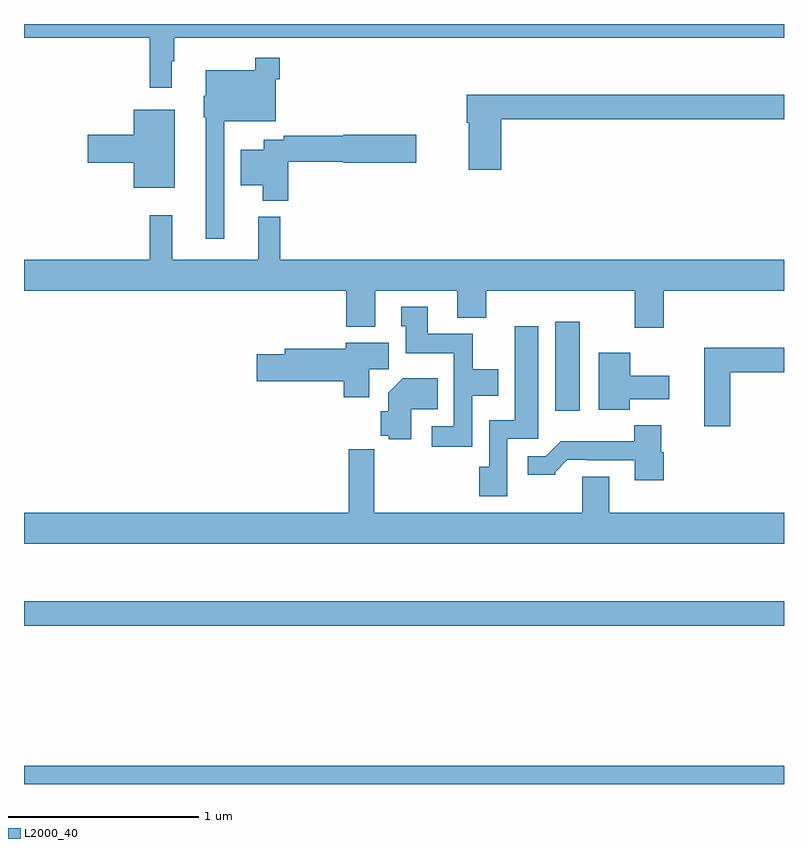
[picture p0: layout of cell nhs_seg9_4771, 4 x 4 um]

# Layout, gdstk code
import gdstk
lib = gdstk.Library(unit=1e-6, precision=1e-09)
def R(c, l, rs):  # rectangles x0, y0, x1, y1
    for r in rs: c.add(gdstk.rectangle(r[:2], r[2:], *l))
def P(c, l, *ps):  # polygons
    for p in ps: c.add(gdstk.Polygon(p, *l))
L2000_40 = (2000, 40)

nhs_seg9_4771 = lib.new_cell('nhs_seg9_4771')
R(nhs_seg9_4771, L2000_40, [(387,1184.5,391,1184.596), (387,1185.334,391,1185.463), (389.795,1186.464,389.926,1186.933)])
P(nhs_seg9_4771, L2000_40, [(387.778,1188.305),(387.79,1188.305),(387.79,1188.428),(391,1188.428),(391,1188.5),(387,1188.5),(387,1188.428),(387.661,1188.428),(387.661,1188.165),(387.778,1188.165)],
  [(388.053,1187.987),(388.326,1187.987),(388.326,1188.209),(388.346,1188.209),(388.346,1188.322),(388.218,1188.322),(388.218,1188.256),(387.956,1188.256),(387.956,1188.123),(387.947,1188.123),(387.947,1188.009),(387.956,1188.009),(387.956,1187.37),(388.053,1187.37)],
  [(389.513,1187.998),(391,1187.998),(391,1188.127),(389.33,1188.127),(389.33,1187.981),(389.342,1187.981),(389.342,1187.733),(389.513,1187.733)],
  [(387.793,1188.049),(387.578,1188.049),(387.578,1187.918),(387.336,1187.918),(387.336,1187.771),(387.578,1187.771),(387.578,1187.639),(387.793,1187.639)],
  [(388.391,1187.776),(388.68,1187.776),(388.68,1187.771),(389.065,1187.771),(389.065,1187.918),(388.68,1187.918),(388.68,1187.912),(388.366,1187.912),(388.366,1187.892),(388.262,1187.892),(388.262,1187.839),(388.142,1187.839),(388.142,1187.651),(388.256,1187.651),(388.256,1187.57),(388.391,1187.57)],
  [(390.368,1187.096),(391,1187.096),(391,1187.26),(388.349,1187.26),(388.349,1187.485),(388.232,1187.485),(388.232,1187.26),(387.779,1187.26),(387.779,1187.494),(387.661,1187.494),(387.661,1187.26),(387,1187.26),(387,1187.096),(388.697,1187.096),(388.697,1186.907),(388.849,1186.907),(388.849,1187.096),(389.279,1187.096),(389.279,1186.955),(389.432,1186.955),(389.432,1187.096),(390.215,1187.096),(390.215,1186.902),(390.368,1186.902)],
  [(389.358,1186.544),(389.497,1186.544),(389.497,1186.684),(389.361,1186.684),(389.361,1186.87),(389.125,1186.87),(389.125,1187.011),(388.985,1187.011),(388.985,1186.908),(389.009,1186.908),(389.009,1186.766),(389.262,1186.766),(389.262,1186.383),(389.145,1186.383),(389.145,1186.275),(389.358,1186.275)],
  [(389.544,1186.317),(389.707,1186.317),(389.707,1186.909),(389.582,1186.909),(389.582,1186.414),(389.448,1186.414),(389.448,1186.17),(389.396,1186.17),(389.396,1186.014),(389.544,1186.014)],
  [(388.816,1186.684),(388.921,1186.684),(388.921,1186.822),(388.694,1186.822),(388.694,1186.791),(388.373,1186.791),(388.373,1186.761),(388.224,1186.761),(388.224,1186.619),(388.682,1186.619),(388.682,1186.536),(388.816,1186.536)],
  [(390.716,1186.666),(391,1186.666),(391,1186.795),(390.581,1186.795),(390.581,1186.383),(390.716,1186.383)],
  [(390.188,1186.526),(390.397,1186.526),(390.397,1186.648),(390.19,1186.648),(390.19,1186.771),(390.026,1186.771),(390.026,1186.469),(390.188,1186.469)],
  [(389.038,1186.472),(389.177,1186.472),(389.177,1186.636),(388.994,1186.636),(388.916,1186.558),(388.916,1186.462),(388.878,1186.462),(388.878,1186.334),(388.92,1186.334),(388.92,1186.315),(389.038,1186.315)],
  [(390.368,1186.245),(390.355,1186.245),(390.355,1186.387),(390.213,1186.387),(390.213,1186.303),(389.824,1186.303),(389.745,1186.224),(389.652,1186.224),(389.652,1186.127),(389.796,1186.127),(389.796,1186.142),(389.86,1186.206),(389.959,1186.206),(389.959,1186.203),(390.215,1186.203),(390.215,1186.098),(390.368,1186.098)],
  [(391,1185.928),(390.079,1185.928),(390.079,1186.118),(389.939,1186.118),(389.939,1185.928),(388.844,1185.928),(388.844,1186.148),(388.843,1186.148),(388.843,1186.261),(388.708,1186.261),(388.708,1185.928),(387,1185.928),(387,1185.764),(391,1185.764)])

lib.write_gds('nhs_seg9_4771.gds')
